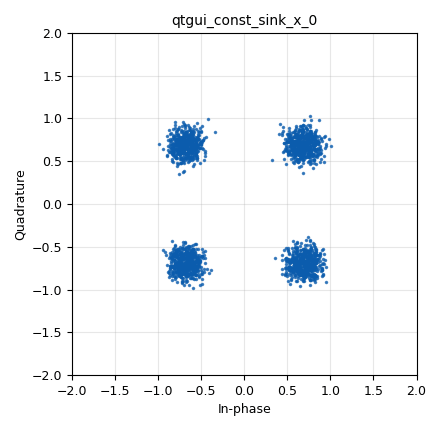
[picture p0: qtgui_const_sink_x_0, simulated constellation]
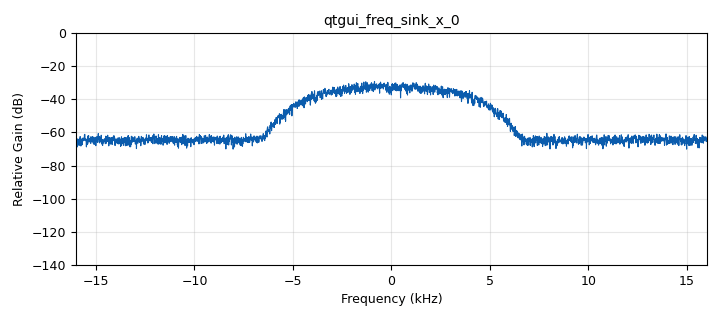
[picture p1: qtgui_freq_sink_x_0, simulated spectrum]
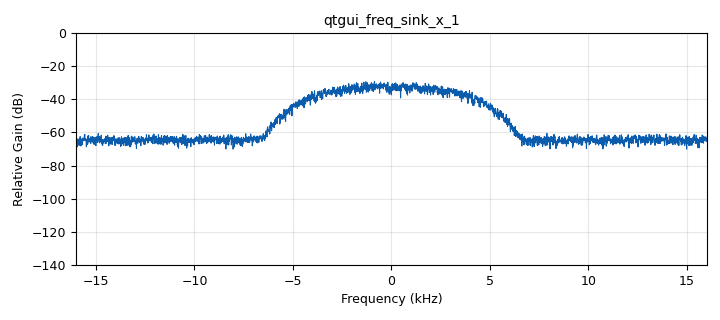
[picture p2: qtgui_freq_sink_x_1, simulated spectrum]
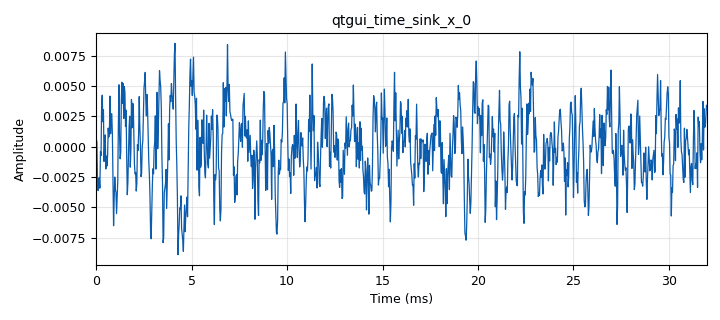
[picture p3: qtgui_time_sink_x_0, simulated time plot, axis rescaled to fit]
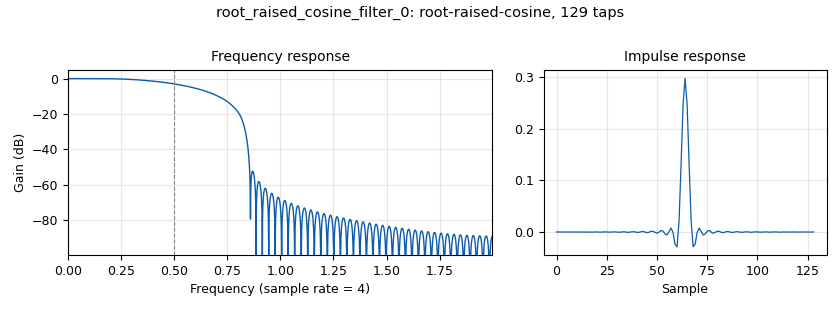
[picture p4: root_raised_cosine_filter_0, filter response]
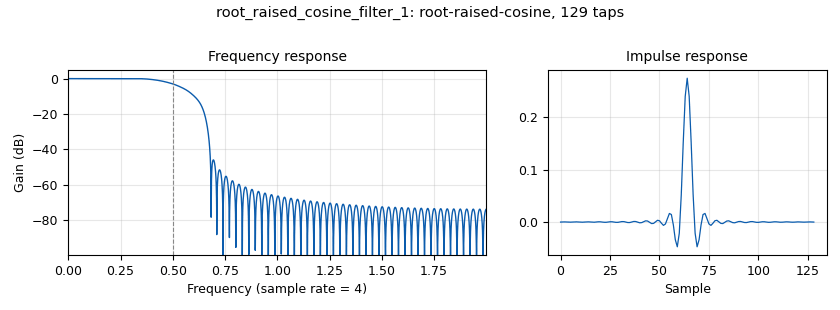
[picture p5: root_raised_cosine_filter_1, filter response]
<?xml version='1.0' encoding='utf-8'?>
<?grc format='1' created='3.7.10'?>
<flow_graph>
<block>
<key>options</key>
<param><key>id</key><value>psk_doppler_corr</value></param>
<param><key>generate_options</key><value>qt_gui</value></param>
</block>
<block>
<key>variable_qtgui_range</key>
<param><key>id</key><value>cma</value></param>
<param><key>value</key><value>-20</value></param>
<param><key>orient</key><value>Qt.Horizontal</value></param>
<param><key>start</key><value>-40</value></param>
<param><key>step</key><value>1</value></param>
<param><key>stop</key><value>-10</value></param>
</block>
<block>
<key>variable_qtgui_range</key>
<param><key>id</key><value>offset</value></param>
<param><key>value</key><value>0</value></param>
<param><key>orient</key><value>Qt.Horizontal</value></param>
<param><key>start</key><value>-0.5</value></param>
<param><key>step</key><value>0.001</value></param>
<param><key>stop</key><value>0.5</value></param>
</block>
<block>
<key>variable</key>
<param><key>id</key><value>samp_rate</value></param>
<param><key>value</key><value>32000</value></param>
</block>
<block>
<key>variable</key>
<param><key>id</key><value>sps</value></param>
<param><key>value</key><value>4</value></param>
</block>
<block>
<key>analog_pll_carriertracking_cc</key>
<param><key>id</key><value>analog_pll_carriertracking_cc_0</value></param>
<param><key>_enabled</key><value>0</value></param>
<param><key>w</key><value>6.28/500</value></param>
<param><key>max_freq</key><value>3.14/2</value></param>
<param><key>min_freq</key><value>-3.14/2</value></param>
</block>
<block>
<key>analog_random_source_x</key>
<param><key>id</key><value>analog_random_source_x_0</value></param>
<param><key>max</key><value>256</value></param>
<param><key>min</key><value>0</value></param>
<param><key>num_samps</key><value>1000000</value></param>
<param><key>type</key><value>byte</value></param>
<param><key>repeat</key><value>True</value></param>
</block>
<block>
<key>blocks_repack_bits_bb</key>
<param><key>id</key><value>blocks_repack_bits_bb_0</value></param>
<param><key>k</key><value>8</value></param>
<param><key>l</key><value>2</value></param>
<param><key>endianness</key><value>gr.GR_LSB_FIRST</value></param>
</block>
<block>
<key>blocks_repeat</key>
<param><key>id</key><value>blocks_repeat_0</value></param>
<param><key>interp</key><value>sps</value></param>
<param><key>type</key><value>complex</value></param>
</block>
<block>
<key>blocks_throttle</key>
<param><key>id</key><value>blocks_throttle_0</value></param>
<param><key>samples_per_second</key><value>samp_rate</value></param>
<param><key>type</key><value>complex</value></param>
</block>
<block>
<key>channels_channel_model</key>
<param><key>id</key><value>channels_channel_model_0</value></param>
<param><key>epsilon</key><value>1.0</value></param>
<param><key>freq_offset</key><value>offset</value></param>
<param><key>noise_voltage</key><value>0.1</value></param>
<param><key>seed</key><value>0</value></param>
<param><key>taps</key><value>1.0+ 1.0j</value></param>
</block>
<block>
<key>digital_chunks_to_symbols_xx</key>
<param><key>id</key><value>digital_chunks_to_symbols_xx_0</value></param>
<param><key>dimension</key><value>1</value></param>
<param><key>in_type</key><value>byte</value></param>
<param><key>out_type</key><value>complex</value></param>
<param><key>symbol_table</key><value>[1+1j, 1-1j, -1-1j, -1+1j]</value></param>
</block>
<block>
<key>digital_clock_recovery_mm_xx</key>
<param><key>id</key><value>digital_clock_recovery_mm_xx_0</value></param>
<param><key>gain_mu</key><value>0.002</value></param>
<param><key>gain_omega</key><value>0.25*0.002*0.002</value></param>
<param><key>mu</key><value>0.5</value></param>
<param><key>omega_relative_limit</key><value>0.005</value></param>
<param><key>omega</key><value>sps*(1+0.0)</value></param>
<param><key>type</key><value>complex</value></param>
</block>
<block>
<key>digital_cma_equalizer_cc</key>
<param><key>id</key><value>digital_cma_equalizer_cc_0</value></param>
<param><key>mu</key><value>pow(10.0,cma/10.0)</value></param>
<param><key>modulus</key><value>1.0</value></param>
<param><key>num_taps</key><value>16</value></param>
<param><key>sps</key><value>1</value></param>
</block>
<block>
<key>digital_costas_loop_cc</key>
<param><key>id</key><value>digital_costas_loop_cc_0</value></param>
<param><key>w</key><value>6.28/100</value></param>
<param><key>order</key><value>4</value></param>
</block>
<block>
<key>digital_diff_encoder_bb</key>
<param><key>id</key><value>digital_diff_encoder_bb_0</value></param>
<param><key>modulus</key><value>4</value></param>
</block>
<block>
<key>qtgui_const_sink_x</key>
<param><key>id</key><value>qtgui_const_sink_x_0</value></param>
<param><key>gui_hint</key><value>tab@2:0,0,1,1</value></param>
<param><key>legend</key><value>False</value></param>
<param><key>alpha1</key><value>0.4</value></param>
<param><key>marker1</key><value>2</value></param>
<param><key>size</key><value>2048</value></param>
<param><key>type</key><value>complex</value></param>
</block>
<block>
<key>qtgui_freq_sink_x</key>
<param><key>id</key><value>qtgui_freq_sink_x_0</value></param>
<param><key>average</key><value>0.1</value></param>
<param><key>bw</key><value>samp_rate</value></param>
<param><key>fc</key><value>0</value></param>
<param><key>fftsize</key><value>4096</value></param>
<param><key>gui_hint</key><value>tab@0</value></param>
<param><key>grid</key><value>True</value></param>
<param><key>legend</key><value>False</value></param>
<param><key>showports</key><value>True</value></param>
<param><key>type</key><value>complex</value></param>
<param><key>wintype</key><value>firdes.WIN_BLACKMAN_hARRIS</value></param>
<param><key>ymax</key><value>0</value></param>
</block>
<block>
<key>qtgui_freq_sink_x</key>
<param><key>id</key><value>qtgui_freq_sink_x_1</value></param>
<param><key>average</key><value>0.1</value></param>
<param><key>bw</key><value>samp_rate</value></param>
<param><key>fc</key><value>0</value></param>
<param><key>fftsize</key><value>4096</value></param>
<param><key>gui_hint</key><value>tab@1</value></param>
<param><key>grid</key><value>True</value></param>
<param><key>legend</key><value>False</value></param>
<param><key>showports</key><value>True</value></param>
<param><key>type</key><value>complex</value></param>
<param><key>wintype</key><value>firdes.WIN_BLACKMAN_hARRIS</value></param>
<param><key>ymax</key><value>0</value></param>
</block>
<block>
<key>qtgui_time_sink_x</key>
<param><key>id</key><value>qtgui_time_sink_x_0</value></param>
<param><key>gui_hint</key><value>tab@2:0,1,1,1</value></param>
<param><key>grid</key><value>True</value></param>
<param><key>legend</key><value>False</value></param>
<param><key>color1</key><value>"blue"</value></param>
<param><key>label1</key><value></value></param>
<param><key>size</key><value>1024</value></param>
<param><key>srate</key><value>samp_rate</value></param>
<param><key>type</key><value>float</value></param>
</block>
<block>
<key>root_raised_cosine_filter</key>
<param><key>id</key><value>root_raised_cosine_filter_0</value></param>
<param><key>alpha</key><value>0.7</value></param>
<param><key>decim</key><value>1</value></param>
<param><key>type</key><value>fir_filter_ccf</value></param>
<param><key>gain</key><value>1</value></param>
<param><key>ntaps</key><value>32*sps</value></param>
<param><key>samp_rate</key><value>sps*1.0</value></param>
<param><key>sym_rate</key><value>1.0</value></param>
</block>
<block>
<key>root_raised_cosine_filter</key>
<param><key>id</key><value>root_raised_cosine_filter_1</value></param>
<param><key>alpha</key><value>0.35</value></param>
<param><key>decim</key><value>1</value></param>
<param><key>type</key><value>fir_filter_ccf</value></param>
<param><key>gain</key><value>1</value></param>
<param><key>ntaps</key><value>32*sps</value></param>
<param><key>samp_rate</key><value>sps*1.0</value></param>
<param><key>sym_rate</key><value>1.0</value></param>
</block>
<block>
<key>qtgui_tab_widget</key>
<param><key>id</key><value>tab</value></param>
<param><key>label0</key><value>RF Input</value></param>
<param><key>label1</key><value>FLL Doppler Corr</value></param>
<param><key>label2</key><value>Costas Out</value></param>
<param><key>label3</key><value>Tab 3</value></param>
<param><key>num_tabs</key><value>4</value></param>
</block>
<block>
<key>virtual_sink</key>
<param><key>id</key><value>virtual_sink_0</value></param>
<param><key>stream_id</key><value>psk</value></param>
</block>
<block>
<key>virtual_source</key>
<param><key>id</key><value>virtual_source_0</value></param>
<param><key>stream_id</key><value>psk</value></param>
</block>
<connection><source_block_id>analog_random_source_x_0</source_block_id><sink_block_id>blocks_repack_bits_bb_0</sink_block_id><source_key>0</source_key><sink_key>0</sink_key></connection>
<connection><source_block_id>blocks_repack_bits_bb_0</source_block_id><sink_block_id>digital_diff_encoder_bb_0</sink_block_id><source_key>0</source_key><sink_key>0</sink_key></connection>
<connection><source_block_id>blocks_repeat_0</source_block_id><sink_block_id>root_raised_cosine_filter_0</sink_block_id><source_key>0</source_key><sink_key>0</sink_key></connection>
<connection><source_block_id>blocks_throttle_0</source_block_id><sink_block_id>virtual_sink_0</sink_block_id><source_key>0</source_key><sink_key>0</sink_key></connection>
<connection><source_block_id>channels_channel_model_0</source_block_id><sink_block_id>qtgui_freq_sink_x_0</sink_block_id><source_key>0</source_key><sink_key>0</sink_key></connection>
<connection><source_block_id>channels_channel_model_0</source_block_id><sink_block_id>qtgui_freq_sink_x_1</sink_block_id><source_key>0</source_key><sink_key>0</sink_key></connection>
<connection><source_block_id>channels_channel_model_0</source_block_id><sink_block_id>root_raised_cosine_filter_1</sink_block_id><source_key>0</source_key><sink_key>0</sink_key></connection>
<connection><source_block_id>digital_chunks_to_symbols_xx_0</source_block_id><sink_block_id>blocks_repeat_0</sink_block_id><source_key>0</source_key><sink_key>0</sink_key></connection>
<connection><source_block_id>digital_clock_recovery_mm_xx_0</source_block_id><sink_block_id>digital_cma_equalizer_cc_0</sink_block_id><source_key>0</source_key><sink_key>0</sink_key></connection>
<connection><source_block_id>digital_cma_equalizer_cc_0</source_block_id><sink_block_id>digital_costas_loop_cc_0</sink_block_id><source_key>0</source_key><sink_key>0</sink_key></connection>
<connection><source_block_id>digital_costas_loop_cc_0</source_block_id><sink_block_id>qtgui_time_sink_x_0</sink_block_id><source_key>1</source_key><sink_key>0</sink_key></connection>
<connection><source_block_id>digital_costas_loop_cc_0</source_block_id><sink_block_id>qtgui_const_sink_x_0</sink_block_id><source_key>0</source_key><sink_key>0</sink_key></connection>
<connection><source_block_id>digital_diff_encoder_bb_0</source_block_id><sink_block_id>digital_chunks_to_symbols_xx_0</sink_block_id><source_key>0</source_key><sink_key>0</sink_key></connection>
<connection><source_block_id>root_raised_cosine_filter_0</source_block_id><sink_block_id>blocks_throttle_0</sink_block_id><source_key>0</source_key><sink_key>0</sink_key></connection>
<connection><source_block_id>root_raised_cosine_filter_1</source_block_id><sink_block_id>digital_clock_recovery_mm_xx_0</sink_block_id><source_key>0</source_key><sink_key>0</sink_key></connection>
<connection><source_block_id>virtual_source_0</source_block_id><sink_block_id>channels_channel_model_0</sink_block_id><source_key>0</source_key><sink_key>0</sink_key></connection>
</flow_graph>
